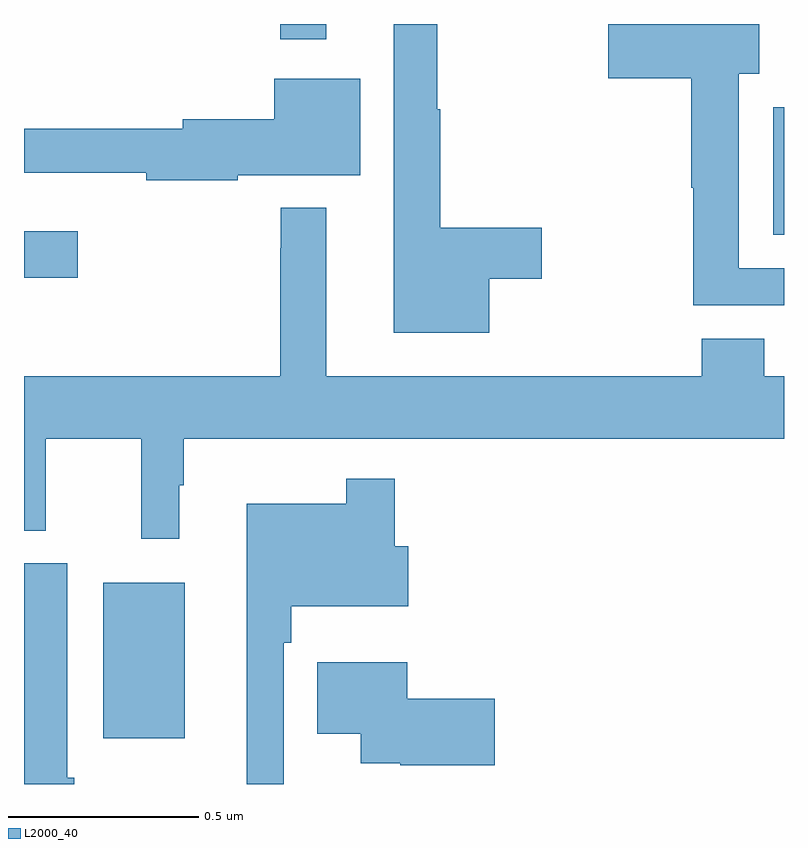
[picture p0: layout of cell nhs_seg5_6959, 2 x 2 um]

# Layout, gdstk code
import gdstk
lib = gdstk.Library(unit=1e-6, precision=1e-09)
def R(c, l, rs):  # rectangles x0, y0, x1, y1
    for r in rs: c.add(gdstk.rectangle(r[:2], r[2:], *l))
def P(c, l, *ps):  # polygons
    for p in ps: c.add(gdstk.Polygon(p, *l))
L2000_40 = (2000, 40)

nhs_seg5_6959 = lib.new_cell('nhs_seg5_6959')
R(nhs_seg5_6959, L2000_40, [(202.208,907.919,202.423,908.329), (202,909.131,202.141,909.253), (203.972,909.245,204,909.58), (202.674,909.759,202.795,909.799)])
P(nhs_seg5_6959, L2000_40, [(204,909.156),(203.881,909.156),(203.881,909.668),(203.935,909.668),(203.935,909.799),(203.538,909.799),(203.538,909.656),(203.756,909.656),(203.756,909.368),(203.761,909.368),(203.761,909.059),(204,909.059)],
  [(203.224,909.128),(203.362,909.128),(203.362,909.263),(203.095,909.263),(203.095,909.575),(203.087,909.575),(203.087,909.799),(202.973,909.799),(202.973,908.987),(203.224,908.987)],
  [(202.562,909.401),(202.885,909.401),(202.885,909.655),(202.658,909.655),(202.658,909.549),(202.418,909.549),(202.418,909.524),(202,909.524),(202,909.407),(202.322,909.407),(202.322,909.388),(202.562,909.388)],
  [(202.408,908.585),(202.42,908.585),(202.42,908.708),(204,908.708),(204,908.872),(203.948,908.872),(203.948,908.971),(203.783,908.971),(203.783,908.872),(202.795,908.872),(202.795,909.316),(202.675,909.316),(202.675,909.209),(202.674,909.209),(202.674,908.872),(202,908.872),(202,908.465),(202.057,908.465),(202.057,908.708),(202.309,908.708),(202.309,908.445),(202.408,908.445)],
  [(202.683,908.171),(202.703,908.171),(202.703,908.267),(203.011,908.267),(203.011,908.425),(202.976,908.425),(202.976,908.602),(202.848,908.602),(202.848,908.536),(202.586,908.536),(202.586,907.799),(202.683,907.799)],
  [(202.132,907.815),(202.114,907.815),(202.114,908.38),(202,908.38),(202,907.799),(202.132,907.799)],
  [(203.239,908.024),(203.008,908.024),(203.008,908.119),(202.772,908.119),(202.772,907.931),(202.886,907.931),(202.886,907.853),(202.99,907.853),(202.99,907.848),(203.239,907.848)])

lib.write_gds('nhs_seg5_6959.gds')
